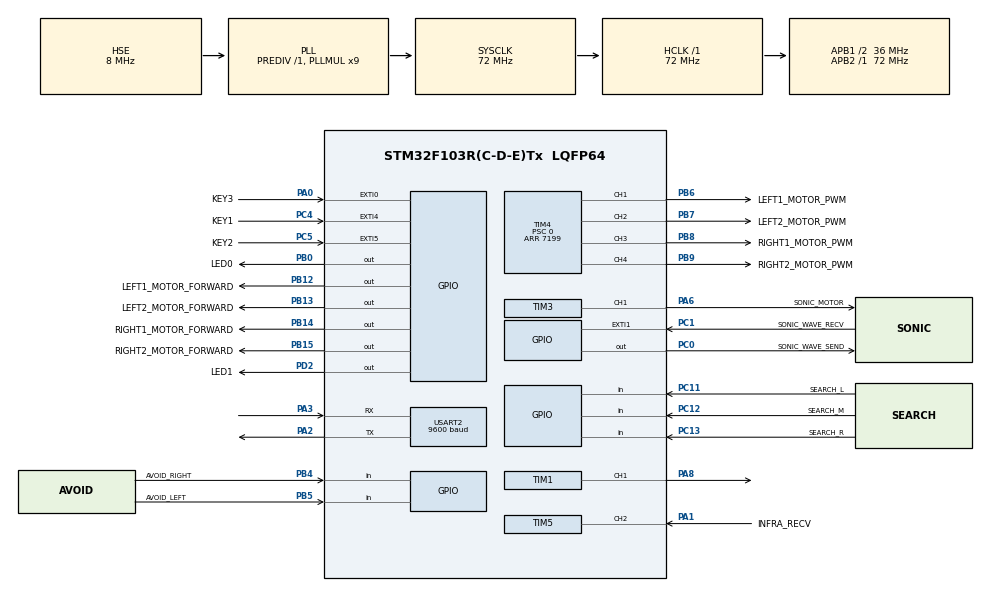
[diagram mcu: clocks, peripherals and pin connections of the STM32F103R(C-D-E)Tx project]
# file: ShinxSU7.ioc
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Mcu.Family=STM32F1
Mcu.Name=STM32F103R(C-D-E)Tx
Mcu.Package=LQFP64
NVIC.EXTI0_IRQn=true\:3\:0\:true\:false\:true\:true\:true\:true
NVIC.EXTI1_IRQn=true\:0\:1\:true\:false\:true\:true\:true\:true
NVIC.EXTI4_IRQn=true\:3\:1\:true\:false\:true\:true\:true\:true
NVIC.EXTI9_5_IRQn=true\:3\:2\:true\:false\:true\:true\:true\:true
NVIC.PriorityGroup=NVIC_PRIORITYGROUP_2
NVIC.TIM5_IRQn=true\:2\:3\:true\:false\:true\:true\:true\:true
NVIC.USART2_IRQn=true\:1\:0\:true\:false\:true\:true\:true\:true
PA0-WKUP.GPIO_Label=KEY3
PA0-WKUP.GPIO_ModeDefaultEXTI=GPIO_MODE_IT_RISING
PA0-WKUP.GPIO_PuPd=GPIO_PULLDOWN
PA0-WKUP.Signal=GPXTI0
PA1.GPIO_Label=INFRA_RECV
PA1.GPIO_PuPd=GPIO_PULLUP
PA1.Signal=S_TIM5_CH2
PA10.Signal=USART1_RX
PA13.Mode=Serial_Wire
PA13.Signal=SYS_JTMS-SWDIO
PA14.Mode=Serial_Wire
PA14.Signal=SYS_JTCK-SWCLK
PA2.Mode=Asynchronous
PA2.Signal=USART2_TX
PA3.Mode=Asynchronous
PA3.Signal=USART2_RX
PA6.GPIO_Label=SONIC_MOTOR
PA6.GPIO_Speed=GPIO_SPEED_FREQ_HIGH
PA6.Signal=S_TIM3_CH1
PA8.Signal=S_TIM1_CH1
PA9.Signal=USART1_TX
PB0.GPIO_Label=LED0
PB0.GPIO_Speed=GPIO_SPEED_FREQ_HIGH
PB0.PinState=GPIO_PIN_SET
PB0.Signal=GPIO_Output
PB12.GPIO_Label=LEFT1_MOTOR_FORWARD
PB12.GPIO_Speed=GPIO_SPEED_FREQ_HIGH
PB12.Signal=GPIO_Output
PB13.GPIO_Label=LEFT2_MOTOR_FORWARD
PB13.GPIO_Speed=GPIO_SPEED_FREQ_HIGH
PB13.Signal=GPIO_Output
PB14.GPIO_Label=RIGHT1_MOTOR_FORWARD
PB14.GPIO_Speed=GPIO_SPEED_FREQ_HIGH
PB14.Signal=GPIO_Output
PB15.GPIO_Label=RIGHT2_MOTOR_FORWARD
PB15.GPIO_Speed=GPIO_SPEED_FREQ_HIGH
PB15.Signal=GPIO_Output
PB4.GPIO_Label=AVOID_RIGHT
PB4.GPIO_PuPd=GPIO_PULLUP
PB4.Signal=GPIO_Input
PB5.GPIO_Label=AVOID_LEFT
PB5.GPIO_PuPd=GPIO_PULLUP
PB5.Signal=GPIO_Input
PB6.GPIO_Label=LEFT1_MOTOR_PWM
PB6.GPIO_ModeDefaultPP=GPIO_MODE_AF_PP
PB6.GPIO_Speed=GPIO_SPEED_FREQ_HIGH
PB6.Signal=S_TIM4_CH1
PB7.GPIO_Label=LEFT2_MOTOR_PWM
PB7.GPIO_Speed=GPIO_SPEED_FREQ_HIGH
PB7.Signal=S_TIM4_CH2
PB8.GPIO_Label=RIGHT1_MOTOR_PWM
PB8.GPIO_Speed=GPIO_SPEED_FREQ_HIGH
PB8.Signal=S_TIM4_CH3
PB9.GPIO_Label=RIGHT2_MOTOR_PWM
PB9.GPIO_Speed=GPIO_SPEED_FREQ_HIGH
PB9.Signal=S_TIM4_CH4
PC0.GPIO_Label=SONIC_WAVE_SEND
PC0.GPIO_Speed=GPIO_SPEED_FREQ_HIGH
PC0.Signal=GPIO_Output
PC1.GPIO_Label=SONIC_WAVE_RECV
PC1.GPIO_ModeDefaultEXTI=GPIO_MODE_IT_RISING
PC1.GPIO_PuPd=GPIO_PULLDOWN
PC1.Signal=GPXTI1
PC11.GPIO_Label=SEARCH_L
PC11.GPIO_PuPd=GPIO_PULLUP
PC11.Signal=GPIO_Input
PC12.GPIO_Label=SEARCH_M
PC12.GPIO_PuPd=GPIO_PULLUP
PC12.Signal=GPIO_Input
PC13-TAMPER-RTC.GPIO_Label=SEARCH_R
PC13-TAMPER-RTC.GPIO_PuPd=GPIO_PULLUP
PC13-TAMPER-RTC.Signal=GPIO_Input
PC4.GPIO_Label=KEY1
PC4.GPIO_ModeDefaultEXTI=GPIO_MODE_IT_FALLING
PC4.GPIO_PuPd=GPIO_PULLUP
PC4.Signal=GPXTI4
PC5.GPIO_Label=KEY2
PC5.GPIO_ModeDefaultEXTI=GPIO_MODE_IT_FALLING
PC5.GPIO_PuPd=GPIO_PULLUP
PC5.Signal=GPXTI5
PD0-OSC_IN.Mode=HSE-External-Oscillator
PD0-OSC_IN.Signal=RCC_OSC_IN
PD1-OSC_OUT.Mode=HSE-External-Oscillator
PD1-OSC_OUT.Signal=RCC_OSC_OUT
PD2.GPIO_Label=LED1
PD2.GPIO_Speed=GPIO_SPEED_FREQ_HIGH
PD2.PinState=GPIO_PIN_SET
PD2.Signal=GPIO_Output
ProjectManager.HeapSize=0x200
ProjectManager.StackSize=0x400
ProjectManager.TargetToolchain=STM32CubeIDE
RCC.AHBFreq_Value=72000000
RCC.APB1CLKDivider=RCC_HCLK_DIV2
RCC.APB1Freq_Value=36000000
RCC.APB1TimFreq_Value=72000000
RCC.APB2Freq_Value=72000000
RCC.APB2TimFreq_Value=72000000
RCC.HCLKFreq_Value=72000000
RCC.PLLMUL=RCC_PLL_MUL9
RCC.PLLSourceVirtual=RCC_PLLSOURCE_HSE
RCC.SYSCLKFreq_VALUE=72000000
RCC.SYSCLKSource=RCC_SYSCLKSOURCE_PLLCLK
RCC.USBFreq_Value=72000000
SH.S_TIM1_CH1.0=TIM1_CH1,PWM Generation1 CH1
SH.S_TIM3_CH1.0=TIM3_CH1,PWM Generation1 CH1
SH.S_TIM4_CH1.0=TIM4_CH1,PWM Generation1 CH1
SH.S_TIM4_CH2.0=TIM4_CH2,PWM Generation2 CH2
SH.S_TIM4_CH3.0=TIM4_CH3,PWM Generation3 CH3
SH.S_TIM4_CH4.0=TIM4_CH4,PWM Generation4 CH4
SH.S_TIM5_CH2.0=TIM5_CH2,Input_Capture2_from_TI2
TIM1.Channel-PWM\ Generation1\ CH1=TIM_CHANNEL_1
TIM1.Period=1000
TIM1.Pulse-PWM\ Generation1\ CH1=500
TIM2.Period=4999
TIM2.Prescaler=7199
TIM3.Channel-PWM\ Generation1\ CH1=TIM_CHANNEL_1
TIM3.OCMode_PWM-PWM\ Generation1\ CH1=TIM_OCMODE_PWM1
TIM3.Period=9999
TIM3.Prescaler=143
TIM4.Channel-PWM\ Generation1\ CH1=TIM_CHANNEL_1
TIM4.Channel-PWM\ Generation2\ CH2=TIM_CHANNEL_2
TIM4.Channel-PWM\ Generation3\ CH3=TIM_CHANNEL_3
TIM4.Channel-PWM\ Generation4\ CH4=TIM_CHANNEL_4
TIM4.OCMode_PWM-PWM\ Generation1\ CH1=TIM_OCMODE_PWM2
TIM4.OCMode_PWM-PWM\ Generation2\ CH2=TIM_OCMODE_PWM2
TIM4.OCMode_PWM-PWM\ Generation3\ CH3=TIM_OCMODE_PWM2
TIM4.OCMode_PWM-PWM\ Generation4\ CH4=TIM_OCMODE_PWM2
TIM4.Period=7199
TIM4.Prescaler=0
TIM5.Channel-Input_Capture2_from_TI2=TIM_CHANNEL_2
TIM5.ICFilter_CH2=8
TIM5.ICPolarity_CH2=TIM_INPUTCHANNELPOLARITY_RISING
TIM5.Period=9999
TIM5.Prescaler=71
TIM5.TIM_MasterOutputTrigger=TIM_TRGO_UPDATE
USART2.BaudRate=9600
USART2.VirtualMode=VM_ASYNC
VP_TIM1_VS_ClockSourceINT.Mode=Internal
VP_TIM2_VS_ClockSourceINT.Mode=Internal
VP_TIM3_VS_ClockSourceINT.Mode=Internal
VP_TIM4_VS_ClockSourceINT.Mode=Internal
VP_TIM5_VS_ClockSourceINT.Mode=Internal
board=custom

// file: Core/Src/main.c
/* USER CODE BEGIN Header */
/**
  ******************************************************************************
  * @file           : main.c
  * @brief          : Main program body
  ******************************************************************************
  * @attention
  *
  * Copyright (c) 2024 STMicroelectronics.
  * All rights reserved.
  *
  * This software is licensed under terms that can be found in the LICENSE file
  * in the root directory of this software component.
  * If no LICENSE file comes with this software, it is provided AS-IS.
  *
  ******************************************************************************
  */
/* USER CODE END Header */
#include "main.h"

/* USER CODE BEGIN Includes */
#include "sonic_motor.h"
#include "motor.h"
#include "infra.h"
#include "bluetooth.h"
#include "scene.h"
#include "control.h"
#include "led.h"
#include "buzzer.h"
/* USER CODE END Includes */

/* USER CODE BEGIN PTD */
SU7Mode_t su7mode = CONTROL_MODE;
/* USER CODE END PTD */

TIM_HandleTypeDef htim1;
TIM_HandleTypeDef htim2;
TIM_HandleTypeDef htim3;
TIM_HandleTypeDef htim4;
TIM_HandleTypeDef htim5;

UART_HandleTypeDef huart2;

/* USER CODE BEGIN PV */
uint8_t SU7Running = 0;
int16_t wayi = 0;
/* USER CODE END PV */

void SystemClock_Config(void);
static void MX_GPIO_Init(void);
static void MX_TIM4_Init(void);
static void MX_TIM5_Init(void);
static void MX_TIM3_Init(void);
static void MX_TIM2_Init(void);
static void MX_USART2_UART_Init(void);
static void MX_TIM1_Init(void);

int main(void)
{

  /* MCU Configuration--------------------------------------------------------*/

  /* Reset of all peripherals, Initializes the Flash interface and the Systick. */
  HAL_Init();

  /* Configure the system clock */
  SystemClock_Config();

  /* Initialize all configured peripherals */
  MX_GPIO_Init();
  MX_TIM4_Init();
  MX_TIM5_Init();
  MX_TIM3_Init();
  MX_TIM2_Init();
  MX_USART2_UART_Init();
  MX_TIM1_Init();
  /* USER CODE BEGIN 2 */
  set_bluetooth_huart(&huart2);
  start_bluetooth_IT();
  // htim2: sonic wave reflection timer
  HAL_TIM_Base_Start_IT(&htim5); // infrared remote receive
  HAL_TIM_IC_Start_IT(&htim5, TIM_CHANNEL_2);
  HAL_TIM_PWM_Start(&htim4, TIM_CHANNEL_1); // wheels PWM
  HAL_TIM_PWM_Start(&htim4, TIM_CHANNEL_2);
  HAL_TIM_PWM_Start(&htim4, TIM_CHANNEL_3);
  HAL_TIM_PWM_Start(&htim4, TIM_CHANNEL_4);
  __HAL_TIM_SetCompare(&htim4, TIM_CHANNEL_1, 0);
  __HAL_TIM_SetCompare(&htim4, TIM_CHANNEL_2, 0);
  __HAL_TIM_SetCompare(&htim4, TIM_CHANNEL_3, 0);
  __HAL_TIM_SetCompare(&htim4, TIM_CHANNEL_4, 0);
  MOTOR_STOP();

  set_buzzer_tim_handler(&htim1);
  start_buzzer();
  stop_buzzer();

  HAL_TIM_PWM_Start(&htim3, TIM_CHANNEL_1); // sonic wave motor PWM
  SetSonicMotor(90);

  LED0_Write(1);
  LED1_Write(1);

  Scene_init(&ShinxScene1);

  /* USER CODE END 2 */

  /* Infinite loop */
  while (1)
  {

    /* USER CODE BEGIN 3 */
    uint8_t key;
    key = Remote_Scan();
    switch(key)
    {
      case 98:  MOTOR_FORWARD(100);       break;
      case 2:   MOTOR_STOP(); end_mode(); break;
      case 194: MOTOR_TURNR(100);         break;
      case 34:  MOTOR_TURNL(100);         break;
      case 224: MOTOR_SPINL(100);         break;
      case 168: MOTOR_BACK(100);          break;
      case 144: MOTOR_SPINR(100);         break;
    }

    if (SU7Running) {
      if (su7mode == WAYPOINT_MODE) {
        // TODO: pack to waypoint_update()
        if (wayi == ShinxScene1.waypoints.length - 1) {
          end_mode();
          wayi = 0;
        } else {
          direction_t dir = GetDirection(ShinxScene1.waypoints.arr[wayi], ShinxScene1.waypoints.arr[wayi + 1]);
          calibrateAndGoDir(dir);
          ++wayi;
        }
      } else if (su7mode == AUTOPILOT_MODE) {
        autopilot_update();
      } else if (su7mode == AUTO_RACE_MODE) {
        autorace_update();
      }
    }
    else if (su7mode != CONTROL_MODE)
    {
      MOTOR_STOP();
    }
  }
  /* USER CODE END 3 */
}

void SystemClock_Config(void)
{
  RCC_OscInitTypeDef RCC_OscInitStruct = {0};
  RCC_ClkInitTypeDef RCC_ClkInitStruct = {0};

  /** Initializes the RCC Oscillators according to the specified parameters
  * in the RCC_OscInitTypeDef structure.
  */
  RCC_OscInitStruct.OscillatorType = RCC_OSCILLATORTYPE_HSE;
  RCC_OscInitStruct.HSEState = RCC_HSE_ON;
  RCC_OscInitStruct.HSEPredivValue = RCC_HSE_PREDIV_DIV1;
  RCC_OscInitStruct.HSIState = RCC_HSI_ON;
  RCC_OscInitStruct.PLL.PLLState = RCC_PLL_ON;
  RCC_OscInitStruct.PLL.PLLSource = RCC_PLLSOURCE_HSE;
  RCC_OscInitStruct.PLL.PLLMUL = RCC_PLL_MUL9;
  if (HAL_RCC_OscConfig(&RCC_OscInitStruct) != HAL_OK)
  {
    Error_Handler();
  }

  /** Initializes the CPU, AHB and APB buses clocks
  */
  RCC_ClkInitStruct.ClockType = RCC_CLOCKTYPE_HCLK|RCC_CLOCKTYPE_SYSCLK
                              |RCC_CLOCKTYPE_PCLK1|RCC_CLOCKTYPE_PCLK2;
  RCC_ClkInitStruct.SYSCLKSource = RCC_SYSCLKSOURCE_PLLCLK;
  RCC_ClkInitStruct.AHBCLKDivider = RCC_SYSCLK_DIV1;
  RCC_ClkInitStruct.APB1CLKDivider = RCC_HCLK_DIV2;
  RCC_ClkInitStruct.APB2CLKDivider = RCC_HCLK_DIV1;

  if (HAL_RCC_ClockConfig(&RCC_ClkInitStruct, FLASH_LATENCY_2) != HAL_OK)
  {
    Error_Handler();
  }
}

static void MX_TIM1_Init(void)
{

  TIM_ClockConfigTypeDef sClockSourceConfig = {0};
  TIM_MasterConfigTypeDef sMasterConfig = {0};
  TIM_OC_InitTypeDef sConfigOC = {0};
  TIM_BreakDeadTimeConfigTypeDef sBreakDeadTimeConfig = {0};

  htim1.Instance = TIM1;
  htim1.Init.Prescaler = 0;
  htim1.Init.CounterMode = TIM_COUNTERMODE_UP;
  htim1.Init.Period = 1000;
  htim1.Init.ClockDivision = TIM_CLOCKDIVISION_DIV1;
  htim1.Init.RepetitionCounter = 0;
  htim1.Init.AutoReloadPreload = TIM_AUTORELOAD_PRELOAD_DISABLE;
  if (HAL_TIM_Base_Init(&htim1) != HAL_OK)
  {
    Error_Handler();
  }
  sClockSourceConfig.ClockSource = TIM_CLOCKSOURCE_INTERNAL;
  if (HAL_TIM_ConfigClockSource(&htim1, &sClockSourceConfig) != HAL_OK)
  {
    Error_Handler();
  }
  if (HAL_TIM_PWM_Init(&htim1) != HAL_OK)
  {
    Error_Handler();
  }
  sMasterConfig.MasterOutputTrigger = TIM_TRGO_RESET;
  sMasterConfig.MasterSlaveMode = TIM_MASTERSLAVEMODE_DISABLE;
  if (HAL_TIMEx_MasterConfigSynchronization(&htim1, &sMasterConfig) != HAL_OK)
  {
    Error_Handler();
  }
  sConfigOC.OCMode = TIM_OCMODE_PWM1;
  sConfigOC.Pulse = 500;
  sConfigOC.OCPolarity = TIM_OCPOLARITY_HIGH;
  sConfigOC.OCNPolarity = TIM_OCNPOLARITY_HIGH;
  sConfigOC.OCFastMode = TIM_OCFAST_DISABLE;
  sConfigOC.OCIdleState = TIM_OCIDLESTATE_RESET;
  sConfigOC.OCNIdleState = TIM_OCNIDLESTATE_RESET;
  if (HAL_TIM_PWM_ConfigChannel(&htim1, &sConfigOC, TIM_CHANNEL_1) != HAL_OK)
  {
    Error_Handler();
  }
  sBreakDeadTimeConfig.OffStateRunMode = TIM_OSSR_DISABLE;
  sBreakDeadTimeConfig.OffStateIDLEMode = TIM_OSSI_DISABLE;
  sBreakDeadTimeConfig.LockLevel = TIM_LOCKLEVEL_OFF;
  sBreakDeadTimeConfig.DeadTime = 0;
  sBreakDeadTimeConfig.BreakState = TIM_BREAK_DISABLE;
  sBreakDeadTimeConfig.BreakPolarity = TIM_BREAKPOLARITY_HIGH;
  sBreakDeadTimeConfig.AutomaticOutput = TIM_AUTOMATICOUTPUT_DISABLE;
  if (HAL_TIMEx_ConfigBreakDeadTime(&htim1, &sBreakDeadTimeConfig) != HAL_OK)
  {
    Error_Handler();
  }
  HAL_TIM_MspPostInit(&htim1);

}

static void MX_TIM2_Init(void)
{

  TIM_ClockConfigTypeDef sClockSourceConfig = {0};
  TIM_MasterConfigTypeDef sMasterConfig = {0};

  htim2.Instance = TIM2;
  htim2.Init.Prescaler = 7199;
  htim2.Init.CounterMode = TIM_COUNTERMODE_UP;
  htim2.Init.Period = 4999;
  htim2.Init.ClockDivision = TIM_CLOCKDIVISION_DIV1;
  htim2.Init.AutoReloadPreload = TIM_AUTORELOAD_PRELOAD_DISABLE;
  if (HAL_TIM_Base_Init(&htim2) != HAL_OK)
  {
    Error_Handler();
  }
  sClockSourceConfig.ClockSource = TIM_CLOCKSOURCE_INTERNAL;
  if (HAL_TIM_ConfigClockSource(&htim2, &sClockSourceConfig) != HAL_OK)
  {
    Error_Handler();
  }
  sMasterConfig.MasterOutputTrigger = TIM_TRGO_RESET;
  sMasterConfig.MasterSlaveMode = TIM_MASTERSLAVEMODE_DISABLE;
  if (HAL_TIMEx_MasterConfigSynchronization(&htim2, &sMasterConfig) != HAL_OK)
  {
    Error_Handler();
  }

}

static void MX_TIM3_Init(void)
{

  TIM_ClockConfigTypeDef sClockSourceConfig = {0};
  TIM_MasterConfigTypeDef sMasterConfig = {0};
  TIM_OC_InitTypeDef sConfigOC = {0};

  htim3.Instance = TIM3;
  htim3.Init.Prescaler = 143;
  htim3.Init.CounterMode = TIM_COUNTERMODE_UP;
  htim3.Init.Period = 9999;
  htim3.Init.ClockDivision = TIM_CLOCKDIVISION_DIV1;
  htim3.Init.AutoReloadPreload = TIM_AUTORELOAD_PRELOAD_DISABLE;
  if (HAL_TIM_Base_Init(&htim3) != HAL_OK)
  {
    Error_Handler();
  }
  sClockSourceConfig.ClockSource = TIM_CLOCKSOURCE_INTERNAL;
  if (HAL_TIM_ConfigClockSource(&htim3, &sClockSourceConfig) != HAL_OK)
  {
    Error_Handler();
  }
  if (HAL_TIM_PWM_Init(&htim3) != HAL_OK)
  {
    Error_Handler();
  }
  sMasterConfig.MasterOutputTrigger = TIM_TRGO_RESET;
  sMasterConfig.MasterSlaveMode = TIM_MASTERSLAVEMODE_DISABLE;
  if (HAL_TIMEx_MasterConfigSynchronization(&htim3, &sMasterConfig) != HAL_OK)
  {
    Error_Handler();
  }
  sConfigOC.OCMode = TIM_OCMODE_PWM1;
  sConfigOC.Pulse = 0;
  sConfigOC.OCPolarity = TIM_OCPOLARITY_HIGH;
  sConfigOC.OCFastMode = TIM_OCFAST_DISABLE;
  if (HAL_TIM_PWM_ConfigChannel(&htim3, &sConfigOC, TIM_CHANNEL_1) != HAL_OK)
  {
    Error_Handler();
  }
  HAL_TIM_MspPostInit(&htim3);

}

static void MX_TIM4_Init(void)
{

  TIM_ClockConfigTypeDef sClockSourceConfig = {0};
  TIM_MasterConfigTypeDef sMasterConfig = {0};
  TIM_OC_InitTypeDef sConfigOC = {0};

  htim4.Instance = TIM4;
  htim4.Init.Prescaler = 0;
  htim4.Init.CounterMode = TIM_COUNTERMODE_UP;
  htim4.Init.Period = 7199;
  htim4.Init.ClockDivision = TIM_CLOCKDIVISION_DIV1;
  htim4.Init.AutoReloadPreload = TIM_AUTORELOAD_PRELOAD_DISABLE;
  if (HAL_TIM_Base_Init(&htim4) != HAL_OK)
  {
    Error_Handler();
  }
  sClockSourceConfig.ClockSource = TIM_CLOCKSOURCE_INTERNAL;
  if (HAL_TIM_ConfigClockSource(&htim4, &sClockSourceConfig) != HAL_OK)
  {
    Error_Handler();
  }
  if (HAL_TIM_PWM_Init(&htim4) != HAL_OK)
  {
    Error_Handler();
  }
  sMasterConfig.MasterOutputTrigger = TIM_TRGO_RESET;
  sMasterConfig.MasterSlaveMode = TIM_MASTERSLAVEMODE_DISABLE;
  if (HAL_TIMEx_MasterConfigSynchronization(&htim4, &sMasterConfig) != HAL_OK)
  {
    Error_Handler();
  }
  sConfigOC.OCMode = TIM_OCMODE_PWM2;
  sConfigOC.Pulse = 0;
  sConfigOC.OCPolarity = TIM_OCPOLARITY_HIGH;
  sConfigOC.OCFastMode = TIM_OCFAST_DISABLE;
  if (HAL_TIM_PWM_ConfigChannel(&htim4, &sConfigOC, TIM_CHANNEL_1) != HAL_OK)
  {
    Error_Handler();
  }
  if (HAL_TIM_PWM_ConfigChannel(&htim4, &sConfigOC, TIM_CHANNEL_2) != HAL_OK)
  {
    Error_Handler();
  }
  if (HAL_TIM_PWM_ConfigChannel(&htim4, &sConfigOC, TIM_CHANNEL_3) != HAL_OK)
  {
    Error_Handler();
  }
  if (HAL_TIM_PWM_ConfigChannel(&htim4, &sConfigOC, TIM_CHANNEL_4) != HAL_OK)
  {
    Error_Handler();
  }
  HAL_TIM_MspPostInit(&htim4);

}

static void MX_TIM5_Init(void)
{

  TIM_ClockConfigTypeDef sClockSourceConfig = {0};
  TIM_MasterConfigTypeDef sMasterConfig = {0};
  TIM_IC_InitTypeDef sConfigIC = {0};

  htim5.Instance = TIM5;
  htim5.Init.Prescaler = 71;
  htim5.Init.CounterMode = TIM_COUNTERMODE_UP;
  htim5.Init.Period = 9999;
  htim5.Init.ClockDivision = TIM_CLOCKDIVISION_DIV1;
  htim5.Init.AutoReloadPreload = TIM_AUTORELOAD_PRELOAD_DISABLE;
  if (HAL_TIM_Base_Init(&htim5) != HAL_OK)
  {
    Error_Handler();
  }
  sClockSourceConfig.ClockSource = TIM_CLOCKSOURCE_INTERNAL;
  if (HAL_TIM_ConfigClockSource(&htim5, &sClockSourceConfig) != HAL_OK)
  {
    Error_Handler();
  }
  if (HAL_TIM_IC_Init(&htim5) != HAL_OK)
  {
    Error_Handler();
  }
  sMasterConfig.MasterOutputTrigger = TIM_TRGO_UPDATE;
  sMasterConfig.MasterSlaveMode = TIM_MASTERSLAVEMODE_DISABLE;
  if (HAL_TIMEx_MasterConfigSynchronization(&htim5, &sMasterConfig) != HAL_OK)
  {
    Error_Handler();
  }
  sConfigIC.ICPolarity = TIM_INPUTCHANNELPOLARITY_RISING;
  sConfigIC.ICSelection = TIM_ICSELECTION_DIRECTTI;
  sConfigIC.ICPrescaler = TIM_ICPSC_DIV1;
  sConfigIC.ICFilter = 8;
  if (HAL_TIM_IC_ConfigChannel(&htim5, &sConfigIC, TIM_CHANNEL_2) != HAL_OK)
  {
    Error_Handler();
  }

}

static void MX_USART2_UART_Init(void)
{

  huart2.Instance = USART2;
  huart2.Init.BaudRate = 9600;
  huart2.Init.WordLength = UART_WORDLENGTH_8B;
  huart2.Init.StopBits = UART_STOPBITS_1;
  huart2.Init.Parity = UART_PARITY_NONE;
  huart2.Init.Mode = UART_MODE_TX_RX;
  huart2.Init.HwFlowCtl = UART_HWCONTROL_NONE;
  huart2.Init.OverSampling = UART_OVERSAMPLING_16;
  if (HAL_UART_Init(&huart2) != HAL_OK)
  {
    Error_Handler();
  }

}

static void MX_GPIO_Init(void)
{
  GPIO_InitTypeDef GPIO_InitStruct = {0};

  /* GPIO Ports Clock Enable */
  __HAL_RCC_GPIOC_CLK_ENABLE();
  __HAL_RCC_GPIOD_CLK_ENABLE();
  __HAL_RCC_GPIOA_CLK_ENABLE();
  __HAL_RCC_GPIOB_CLK_ENABLE();

  /*Configure GPIO pin Output Level */
  HAL_GPIO_WritePin(SONIC_WAVE_SEND_GPIO_Port, SONIC_WAVE_SEND_Pin, GPIO_PIN_RESET);

  /*Configure GPIO pin Output Level */
  HAL_GPIO_WritePin(LED0_GPIO_Port, LED0_Pin, GPIO_PIN_SET);

  /*Configure GPIO pin Output Level */
  HAL_GPIO_WritePin(GPIOB, LEFT1_MOTOR_FORWARD_Pin|LEFT2_MOTOR_FORWARD_Pin|RIGHT1_MOTOR_FORWARD_Pin|RIGHT2_MOTOR_FORWARD_Pin, GPIO_PIN_RESET);

  /*Configure GPIO pin Output Level */
  HAL_GPIO_WritePin(LED1_GPIO_Port, LED1_Pin, GPIO_PIN_SET);

  /*Configure GPIO pins : SEARCH_R_Pin SEARCH_L_Pin SEARCH_M_Pin */
  GPIO_InitStruct.Pin = SEARCH_R_Pin|SEARCH_L_Pin|SEARCH_M_Pin;
  GPIO_InitStruct.Mode = GPIO_MODE_INPUT;
  GPIO_InitStruct.Pull = GPIO_PULLUP;
  HAL_GPIO_Init(GPIOC, &GPIO_InitStruct);

  /*Configure GPIO pin : SONIC_WAVE_SEND_Pin */
  GPIO_InitStruct.Pin = SONIC_WAVE_SEND_Pin;
  GPIO_InitStruct.Mode = GPIO_MODE_OUTPUT_PP;
  GPIO_InitStruct.Pull = GPIO_NOPULL;
  GPIO_InitStruct.Speed = GPIO_SPEED_FREQ_HIGH;
  HAL_GPIO_Init(SONIC_WAVE_SEND_GPIO_Port, &GPIO_InitStruct);

  /*Configure GPIO pin : SONIC_WAVE_RECV_Pin */
  GPIO_InitStruct.Pin = SONIC_WAVE_RECV_Pin;
  GPIO_InitStruct.Mode = GPIO_MODE_IT_RISING;
  GPIO_InitStruct.Pull = GPIO_PULLDOWN;
  HAL_GPIO_Init(SONIC_WAVE_RECV_GPIO_Port, &GPIO_InitStruct);

  /*Configure GPIO pin : KEY3_Pin */
  GPIO_InitStruct.Pin = KEY3_Pin;
  GPIO_InitStruct.Mode = GPIO_MODE_IT_RISING;
  GPIO_InitStruct.Pull = GPIO_PULLDOWN;
  HAL_GPIO_Init(KEY3_GPIO_Port, &GPIO_InitStruct);

  /*Configure GPIO pins : KEY1_Pin KEY2_Pin */
  GPIO_InitStruct.Pin = KEY1_Pin|KEY2_Pin;
  GPIO_InitStruct.Mode = GPIO_MODE_IT_FALLING;
  GPIO_InitStruct.Pull = GPIO_PULLUP;
  HAL_GPIO_Init(GPIOC, &GPIO_InitStruct);

  /*Configure GPIO pins : LED0_Pin LEFT1_MOTOR_FORWARD_Pin LEFT2_MOTOR_FORWARD_Pin RIGHT1_MOTOR_FORWARD_Pin
                           RIGHT2_MOTOR_FORWARD_Pin */
  GPIO_InitStruct.Pin = LED0_Pin|LEFT1_MOTOR_FORWARD_Pin|LEFT2_MOTOR_FORWARD_Pin|RIGHT1_MOTOR_FORWARD_Pin
                          |RIGHT2_MOTOR_FORWARD_Pin;
  GPIO_InitStruct.Mode = GPIO_MODE_OUTPUT_PP;
  GPIO_InitStruct.Pull = GPIO_NOPULL;
  GPIO_InitStruct.Speed = GPIO_SPEED_FREQ_HIGH;
  HAL_GPIO_Init(GPIOB, &GPIO_InitStruct);

  /*Configure GPIO pin : PA9 */
  GPIO_InitStruct.Pin = GPIO_PIN_9;
  GPIO_InitStruct.Mode = GPIO_MODE_AF_PP;
  GPIO_InitStruct.Speed = GPIO_SPEED_FREQ_HIGH;
  HAL_GPIO_Init(GPIOA, &GPIO_InitStruct);

  /*Configure GPIO pin : PA10 */
  GPIO_InitStruct.Pin = GPIO_PIN_10;
  GPIO_InitStruct.Mode = GPIO_MODE_INPUT;
  GPIO_InitStruct.Pull = GPIO_NOPULL;
  HAL_GPIO_Init(GPIOA, &GPIO_InitStruct);

  /*Configure GPIO pin : LED1_Pin */
  GPIO_InitStruct.Pin = LED1_Pin;
  GPIO_InitStruct.Mode = GPIO_MODE_OUTPUT_PP;
  GPIO_InitStruct.Pull = GPIO_NOPULL;
  GPIO_InitStruct.Speed = GPIO_SPEED_FREQ_HIGH;
  HAL_GPIO_Init(LED1_GPIO_Port, &GPIO_InitStruct);

  /*Configure GPIO pins : AVOID_RIGHT_Pin AVOID_LEFT_Pin */
  GPIO_InitStruct.Pin = AVOID_RIGHT_Pin|AVOID_LEFT_Pin;
  GPIO_InitStruct.Mode = GPIO_MODE_INPUT;
  GPIO_InitStruct.Pull = GPIO_PULLUP;
  HAL_GPIO_Init(GPIOB, &GPIO_InitStruct);

  /* EXTI interrupt init*/
  HAL_NVIC_SetPriority(EXTI0_IRQn, 3, 0);
  HAL_NVIC_EnableIRQ(EXTI0_IRQn);

  HAL_NVIC_SetPriority(EXTI1_IRQn, 0, 1);
  HAL_NVIC_EnableIRQ(EXTI1_IRQn);

  HAL_NVIC_SetPriority(EXTI4_IRQn, 3, 1);
  HAL_NVIC_EnableIRQ(EXTI4_IRQn);

  HAL_NVIC_SetPriority(EXTI9_5_IRQn, 3, 2);
  HAL_NVIC_EnableIRQ(EXTI9_5_IRQn);

}

/* USER CODE BEGIN 4 */
uint8_t set_control_mode(){
  if (SU7Running) {
    return 0xf1;
  } else {
    su7mode = CONTROL_MODE;
    return 0x00;
  }
}
uint8_t set_waypoint_mode(){
  if (SU7Running) {
    return 0xf1;
  } else {
    su7mode = WAYPOINT_MODE;
    return 0x00;
  }
}
uint8_t set_autopilot_mode(){
  if (SU7Running) {
    return 0xf1;
  } else {
    su7mode = AUTOPILOT_MODE;
    return 0x00;
  }
}
uint8_t set_auto_race_mode(){
  if (SU7Running) {
    return 0xf1;
  } else {
    su7mode = AUTO_RACE_MODE;
    return 0x00;
  }
}
void start_mode(){
  wayi = 0;
  SU7Running = 1;

  control_init();
}
void end_mode() {
  SU7Running = 0;
  MOTOR_STOP();
}
void toggle_mode() {
  if (SU7Running) {
    end_mode();
  } else {
    start_mode();
  }
}
/* USER CODE END 4 */

void Error_Handler(void)
{
  __disable_irq();
  while (1)
  {
  }
}
